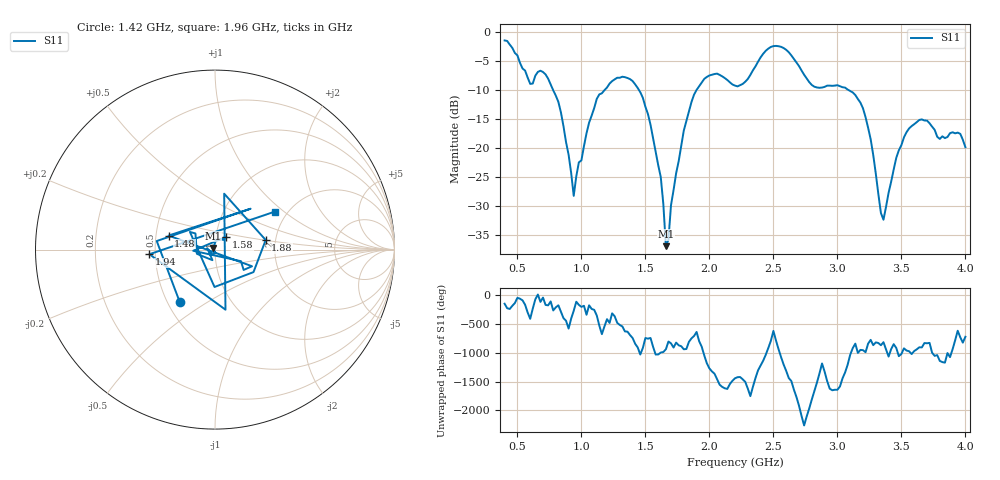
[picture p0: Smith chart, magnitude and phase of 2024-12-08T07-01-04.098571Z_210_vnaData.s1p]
!Created with skrf (http://scikit-rf.org).
# Hz S RI R 50.0
!freq ReS11 ImS11
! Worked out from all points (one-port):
!   181 points, 400 MHz to 4 GHz, reference 50 ohm
!   lowest |S11| = -36.9 dB at 1.66 GHz (marker M1), VSWR 1.03, Z = 48.9 + j0.89 ohm
!   |S11| at or under -10 dB: 778.4 MHz to 1.183 GHz (404.3 MHz wide, 41.2 % of centre); 1.449 GHz to 1.9 GHz (451.6 MHz wide, 27 % of centre); 3.084 GHz to end of sweep
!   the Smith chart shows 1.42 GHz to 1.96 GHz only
!   S11 on the Smith chart (normalised r, x): 1.42 GHz: 0.58, -0.39; 1.48 GHz: 0.58, +0.10; 1.58 GHz: 1.12, +0.16; 1.88 GHz: 1.77, +0.21; 1.94 GHz: 0.46, -0.03; 1.96 GHz: 1.72, +0.86
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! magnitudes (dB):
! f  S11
! 400 MHz  -1.5
! 600 MHz  -9.0
! 720 MHz  -7.4
! 860 MHz  -16.3
! 940 MHz  -28.2
! 980 MHz  -22.5
! 1.12 GHz  -11.6
! 1.3 GHz  -7.9
! 1.42 GHz  -9.1
! 1.48 GHz  -11.4
! 1.58 GHz  -20.6
! 1.62 GHz  -25.0
! 1.66 GHz  -36.9
! 1.76 GHz  -22.3
! 1.88 GHz  -10.8
! 1.94 GHz  -8.7
! 1.96 GHz  -8.1
! 2.2 GHz  -9.3
! 2.48 GHz  -2.6
! 2.66 GHz  -4.7
! 2.82 GHz  -9.5
! 3.1 GHz  -10.2
! 3.22 GHz  -14.7
! 3.36 GHz  -32.3
! 3.46 GHz  -21.7
! 3.56 GHz  -16.6
! 3.7 GHz  -15.3
! 4 GHz  -19.9
